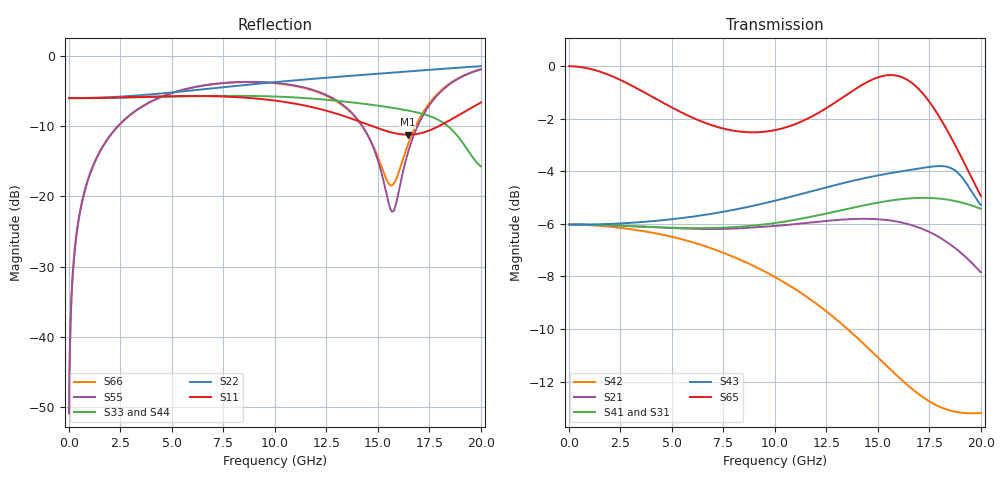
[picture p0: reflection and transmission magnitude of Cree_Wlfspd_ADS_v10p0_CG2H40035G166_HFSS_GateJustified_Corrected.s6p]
! Touchstone file from project 440166_package_HFSS_gate_justified
! Exported from HFSS 2018.1.0
# GHZ S MA R 50.000000
! Terminal data exported
! Port[1] = Port1_T1
! Port[2] = Port2_T1
! Port[3] = Port3_T1
! Port[4] = Port4_T1
! Port[5] = Port5_T1
! Port[6] = Port6_T1
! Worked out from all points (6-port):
!   1000 points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, 20 MHz to 20 GHz, reference per port
!   strongest paths, dB at 20 MHz, 5.02 GHz, 10.02 GHz, 15.02 GHz, 20 GHz:
!     S65: 0.0, -1.6, -2.4, -0.4, -4.9
!     S43: -6.0, -5.8, -5.1, -4.2, -5.3
!     S41: -6.0, -6.1, -6.0, -5.2, -5.4
!     S31: -6.0, -6.1, -6.0, -5.2, -5.4
!     S21: -6.0, -6.2, -6.1, -5.8, -7.8
!     S42: -6.0, -6.5, -8.0, -11.1, -13.2
!   lowest |S11| = -11.2 dB at 16.46 GHz (marker M1), VSWR 1.76
!   |S11| at or under -10 dB: 14.7 GHz to 17.98 GHz (3.276 GHz wide, 20.1 % of centre)
